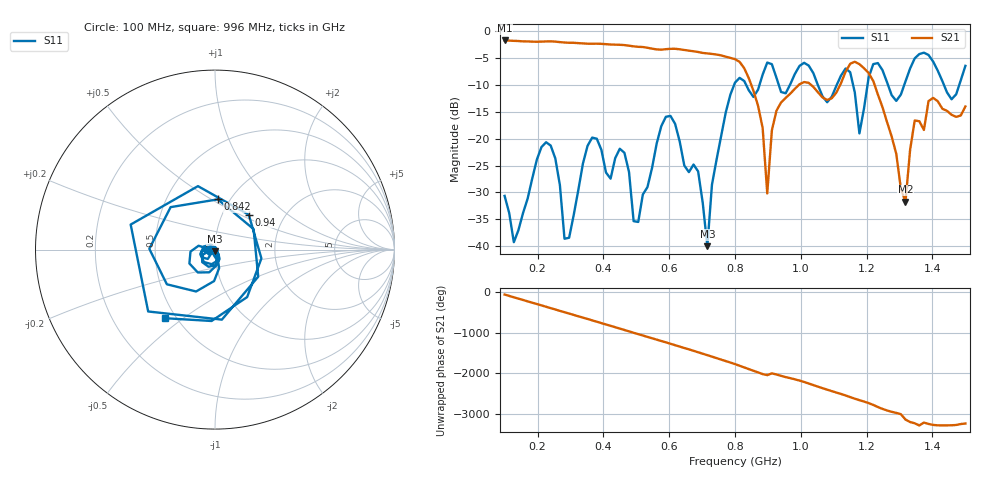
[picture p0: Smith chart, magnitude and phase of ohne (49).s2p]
! NanoVNA-App
! Date: 2025-09-26 09:55:46
! Start: 100MHz Stop: 1,5GHz Points: 101
! S-Parameter data: F S11 S21 S12 S22
# Hz S RI R 50
!  Frequency  S11_Real  S11_Imag  S21_Real  S21_Imag  S12_Real  S12_Imag  S22_Real  S22_Imag
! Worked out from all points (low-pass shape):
!   101 points, 100 MHz to 1.5 GHz, reference 50 ohm
!   highest |S21| = -1.79 dB at 100 MHz (marker M1); lowest = -31.7 dB at 1.318 GHz (marker M2)
!   |S21| within 3 dB of the highest: start of sweep to 771.3 MHz
!   lowest |S11| = -40.0 dB at 716 MHz (marker M3), VSWR 1.02, Z = 49.8 - j0.99 ohm
!   |S11| at or under -10 dB: start of sweep to 797.6 MHz; 833.5 MHz to 874.6 MHz (41.1 MHz wide, 4.81 % of centre); 1.051 GHz to 1.109 GHz (58.12 MHz wide, 5.38 % of centre) (the widest 3 of 7)
!   S12 and S22 are empty: the file has one direction only
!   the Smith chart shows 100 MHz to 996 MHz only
!   S11 on the Smith chart (normalised r, x): 100 MHz: 0.94, -0.01; 842 MHz: 0.88, +0.53; 940 MHz: 1.33, +0.56; 996 MHz: 0.44, -0.43
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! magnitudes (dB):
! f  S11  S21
! 100 MHz  -30.6  -1.8
! 128 MHz  -39.2  -1.9
! 226 MHz  -20.7  -2.0
! 296 MHz  -38.4  -2.2
! 338 MHz  -24.6  -2.3
! 464 MHz  -22.6  -2.6
! 506 MHz  -35.5  -3.0
! 576 MHz  -17.7  -3.5
! 688 MHz  -26.1  -3.9
! 716 MHz  -40.0  -4.2
! 800 MHz  -9.6  -5.3
! 842 MHz  -11.0  -8.8
! 898 MHz  -5.9  -30.2
! 940 MHz  -11.4  -13.3
! 996 MHz  -6.5  -9.9
! 1.038 GHz  -7.9  -10.4
! 1.178 GHz  -19.0  -6.2
! 1.22 GHz  -6.2  -9.3
! 1.276 GHz  -11.9  -19.6
! 1.318 GHz  -9.4  -31.7
! 1.346 GHz  -5.1  -16.6
! 1.5 GHz  -6.5  -14.0
